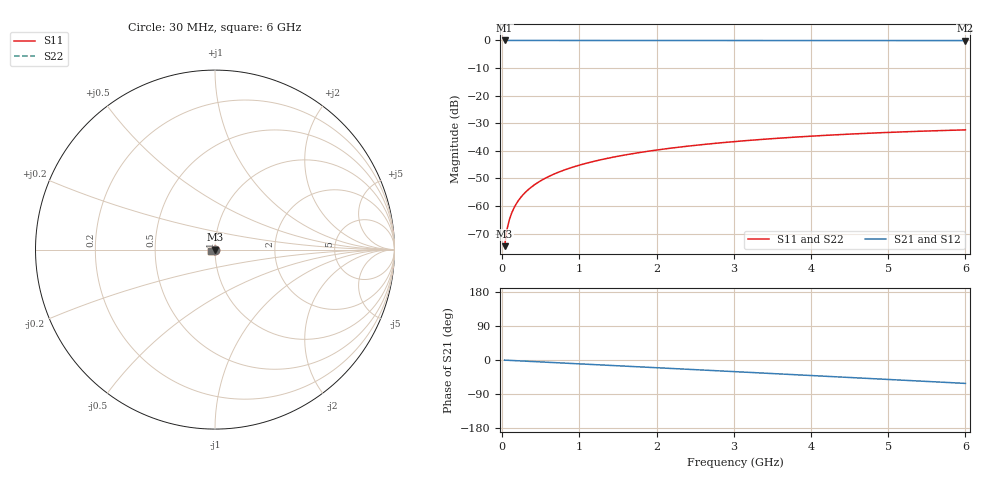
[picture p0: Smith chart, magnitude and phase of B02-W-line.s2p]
! yapnr Order 0 O0-W: O0-W B02 W dL5 (line, family W)
! stackup OSHPARK-4L-FR408HR, nominal parameters; geometry of the OSHPARK-4L-FR408HR design
! model: 2D quasi-static RLGC (Djordjevic-Sarkar, Huray roughness, Wheeler loss); generated by python -m yapnr.rf.coupons expected --stackup OSHPARK-4L-FR408HR --upload W
! reference planes 10 mm from each end; 50 ohm (from the W line's Zc)
# GHz S DB R 50
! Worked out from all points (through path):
!   200 points, 30 MHz to 6 GHz, reference 50 ohm
!   highest |S21| = 0.00 dB at 30 MHz (marker M1); lowest = 0.0 dB at 6 GHz (marker M2)
!   group delay of S21, straight-line fit = 28.6 ps
!   lowest |S11| = -74.5 dB at 30 MHz (marker M3), VSWR 1.00, Z = 50 - j0.0188 ohm
!   |S11| at or under -10 dB: start of sweep to end of sweep
!   |S22| runs from -74.5 to -32.4 dB; largest |S21 - S12| = 0
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0.03  -74.52 -86.5  -0.00 -0.3  -0.00 -0.3  -74.52 -86.5
0.06  -68.52 -89.8  -0.00 -0.6  -0.00 -0.6  -68.52 -89.8
0.09  -65.06 -91.5  -0.00 -0.9  -0.00 -0.9  -65.06 -91.5
0.12  -62.63 -92.5  -0.00 -1.2  -0.00 -1.2  -62.63 -92.5
0.15  -60.76 -93.4  -0.00 -1.5  -0.00 -1.5  -60.76 -93.4
0.18  -59.23 -94.1  -0.00 -1.8  -0.00 -1.8  -59.23 -94.1
0.21  -57.95 -94.8  -0.00 -2.1  -0.00 -2.1  -57.95 -94.8
0.27  -55.86 -95.8  -0.00 -2.8  -0.00 -2.8  -55.86 -95.8
0.33  -54.20 -96.8  -0.00 -3.4  -0.00 -3.4  -54.20 -96.8
0.39  -52.83 -97.7  -0.00 -4.0  -0.00 -4.0  -52.83 -97.7
0.48  -51.12 -98.9  -0.00 -4.9  -0.00 -4.9  -51.12 -98.9
0.57  -49.72 -100.1  -0.01 -5.8  -0.01 -5.8  -49.72 -100.1
0.78  -47.17 -102.7  -0.01 -7.9  -0.01 -7.9  -47.17 -102.7
1.05  -44.77 -105.8  -0.01 -10.7  -0.01 -10.7  -44.77 -105.8
1.26  -43.32 -108.1  -0.01 -12.8  -0.01 -12.8  -43.32 -108.1
1.5  -41.93 -110.8  -0.01 -15.3  -0.01 -15.3  -41.93 -110.8
2.04  -39.54 -116.6  -0.02 -20.8  -0.02 -20.8  -39.54 -116.6
2.52  -37.93 -121.7  -0.02 -25.7  -0.02 -25.7  -37.93 -121.7
3.03  -36.58 -127.2  -0.02 -30.9  -0.02 -30.9  -36.58 -127.2
4.02  -34.64 -137.6  -0.03 -41.1  -0.03 -41.1  -34.64 -137.6
5.01  -33.30 -148.1  -0.04 -51.4  -0.04 -51.4  -33.30 -148.1
6  -32.40 -158.6  -0.05 -61.7  -0.05 -61.7  -32.40 -158.6
